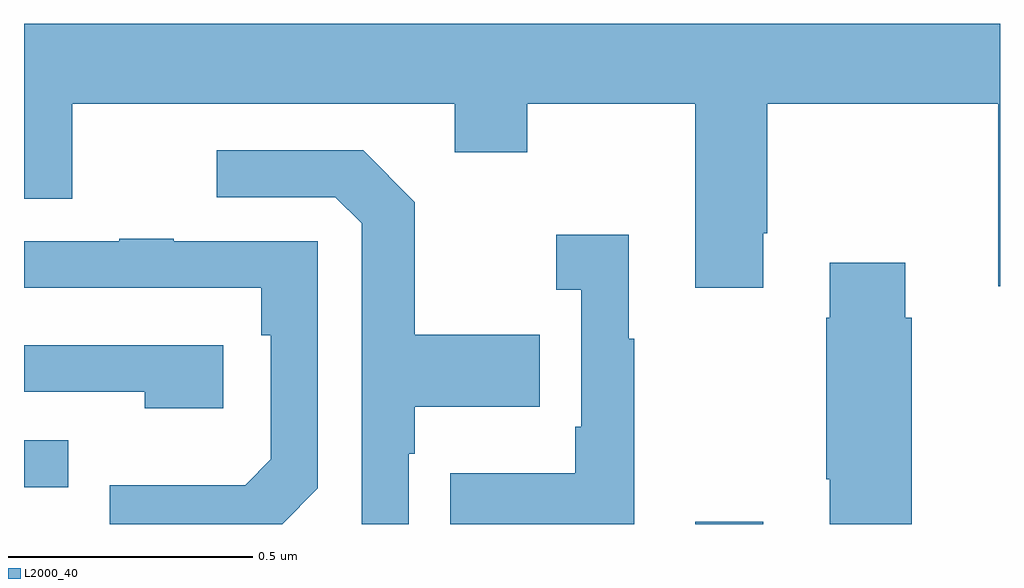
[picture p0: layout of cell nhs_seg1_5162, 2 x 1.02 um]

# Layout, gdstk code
import gdstk
lib = gdstk.Library(unit=1e-6, precision=1e-09)
def R(c, l, rs):  # rectangles x0, y0, x1, y1
    for r in rs: c.add(gdstk.rectangle(r[:2], r[2:], *l))
def P(c, l, *ps):  # polygons
    for p in ps: c.add(gdstk.Polygon(p, *l))
L2000_40 = (2000, 40)

nhs_seg1_5162 = lib.new_cell('nhs_seg1_5162')
R(nhs_seg1_5162, L2000_40, [(176.375,556.199,176.515,556.204), (175,556.275,175.091,556.371)])
P(nhs_seg1_5162, L2000_40, [(175,556.866),(175.099,556.866),(175.099,557.06),(175.883,557.06),(175.883,556.961),(176.031,556.961),(176.031,557.06),(176.375,557.06),(176.375,556.683),(176.515,556.683),(176.515,556.795),(176.523,556.795),(176.523,557.06),(176.996,557.06),(176.996,556.686),(177,556.686),(177,557.224),(175,557.224)],
  [(175.788,556.343),(175.801,556.343),(175.801,556.439),(176.057,556.439),(176.057,556.587),(175.801,556.587),(175.801,556.859),(175.695,556.965),(175.395,556.965),(175.395,556.869),(175.638,556.869),(175.692,556.815),(175.692,556.199),(175.788,556.199)],
  [(176.251,556.579),(176.239,556.579),(176.239,556.792),(176.091,556.792),(176.091,556.679),(176.142,556.679),(176.142,556.399),(176.13,556.399),(176.13,556.303),(175.873,556.303),(175.873,556.199),(176.251,556.199)],
  [(175.602,556.272),(175.602,556.779),(175.307,556.779),(175.307,556.784),(175.195,556.784),(175.195,556.779),(175,556.779),(175,556.683),(175.486,556.683),(175.486,556.586),(175.506,556.586),(175.506,556.332),(175.453,556.279),(175.176,556.279),(175.176,556.199),(175.529,556.199)],
  [(176.819,556.622),(176.806,556.622),(176.806,556.735),(176.651,556.735),(176.651,556.622),(176.644,556.622),(176.644,556.291),(176.651,556.291),(176.651,556.199),(176.819,556.199)],
  [(175.408,556.566),(175,556.566),(175,556.47),(175.247,556.47),(175.247,556.436),(175.408,556.436)])

lib.write_gds('nhs_seg1_5162.gds')
